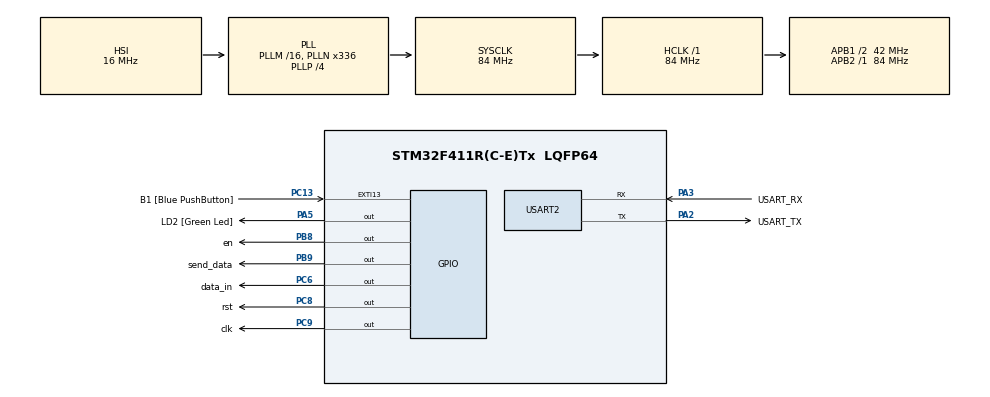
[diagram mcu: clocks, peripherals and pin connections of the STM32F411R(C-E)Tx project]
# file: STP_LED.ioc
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Mcu.Family=STM32F4
Mcu.Name=STM32F411R(C-E)Tx
Mcu.Package=LQFP64
NVIC.PriorityGroup=NVIC_PRIORITYGROUP_0
PA13.GPIO_Label=TMS
PA13.Mode=Serial_Wire
PA13.Signal=SYS_JTMS-SWDIO
PA14.GPIO_Label=TCK
PA14.Mode=Serial_Wire
PA14.Signal=SYS_JTCK-SWCLK
PA2.GPIO_Label=USART_TX
PA2.Mode=Asynchronous
PA2.Signal=USART2_TX
PA3.GPIO_Label=USART_RX
PA3.Mode=Asynchronous
PA3.Signal=USART2_RX
PA5.GPIO_Label=LD2 [Green Led]
PA5.Signal=GPIO_Output
PB3.GPIO_Label=SWO
PB3.Signal=SYS_JTDO-SWO
PB8.GPIO_Label=en
PB8.Signal=GPIO_Output
PB9.GPIO_Label=send_data
PB9.Signal=GPIO_Output
PC13-ANTI_TAMP.GPIO_Label=B1 [Blue PushButton]
PC13-ANTI_TAMP.GPIO_ModeDefaultEXTI=GPIO_MODE_IT_FALLING
PC13-ANTI_TAMP.Signal=GPXTI13
PC14-OSC32_IN.Mode=LSE-External-Oscillator
PC14-OSC32_IN.Signal=RCC_OSC32_IN
PC15-OSC32_OUT.Mode=LSE-External-Oscillator
PC15-OSC32_OUT.Signal=RCC_OSC32_OUT
PC6.GPIO_Label=data_in
PC6.Signal=GPIO_Output
PC8.GPIO_Label=rst
PC8.Signal=GPIO_Output
PC9.GPIO_Label=clk
PC9.Signal=GPIO_Output
PH0\ -\ OSC_IN.Mode=HSE-External-Clock-Source
PH0\ -\ OSC_IN.Signal=RCC_OSC_IN
PH1\ -\ OSC_OUT.Mode=HSE-External-Clock-Source
PH1\ -\ OSC_OUT.Signal=RCC_OSC_OUT
ProjectManager.HeapSize=0x200
ProjectManager.StackSize=0x400
ProjectManager.TargetToolchain=STM32CubeIDE
RCC.48MHZClocksFreq_Value=84000000
RCC.AHBFreq_Value=84000000
RCC.APB1CLKDivider=RCC_HCLK_DIV2
RCC.APB1Freq_Value=42000000
RCC.APB1TimFreq_Value=84000000
RCC.APB2Freq_Value=84000000
RCC.APB2TimFreq_Value=84000000
RCC.CortexFreq_Value=84000000
RCC.FLatency-AdvancedSettings=FLASH_LATENCY_2
RCC.HCLKFreq_Value=84000000
RCC.HSE_VALUE=8000000
RCC.HSI_VALUE=16000000
RCC.PLLN=336
RCC.PLLP=RCC_PLLP_DIV4
RCC.SYSCLKFreq_VALUE=84000000
RCC.SYSCLKSource=RCC_SYSCLKSOURCE_PLLCLK
RCC.VCOOutputFreq_Value=336000000
USART2.VirtualMode=VM_ASYNC
board=NUCLEO-F411RE

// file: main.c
/* USER CODE BEGIN Header */
/**
  ******************************************************************************
  * @file           : main.c
  * @brief          : Main program body
  ******************************************************************************
  * @attention
  *
  * Copyright (c) 2024 STMicroelectronics.
  * All rights reserved.
  *
  * This software is licensed under terms that can be found in the LICENSE file
  * in the root directory of this software component.
  * If no LICENSE file comes with this software, it is provided AS-IS.
  *
  ******************************************************************************
  */
/* USER CODE END Header */
#include "main.h"

UART_HandleTypeDef huart2;

void SystemClock_Config(void);
static void MX_GPIO_Init(void);
static void MX_USART2_UART_Init(void);

int main(void)
{

  /* MCU Configuration--------------------------------------------------------*/

  /* Reset of all peripherals, Initializes the Flash interface and the Systick. */
  HAL_Init();

  /* Configure the system clock */
  SystemClock_Config();

  /* Initialize all configured peripherals */
  MX_GPIO_Init();
  MX_USART2_UART_Init();

  /* Infinite loop */
  /* USER CODE BEGIN WHILE */

  // Initial State
  HAL_GPIO_WritePin(GPIOC, clk_Pin, 0);
  HAL_GPIO_WritePin(GPIOC, rst_Pin, 1);
  HAL_GPIO_WritePin(GPIOB, en_Pin, 0);
  HAL_GPIO_WritePin(GPIOC, data_in_Pin, 0);
  HAL_Delay(100);

  HAL_GPIO_WritePin(GPIOC, clk_Pin, 1);
  HAL_Delay(100);

  HAL_GPIO_WritePin(GPIOC, clk_Pin, 0);
  HAL_GPIO_WritePin(GPIOC, rst_Pin, 0);
  HAL_GPIO_WritePin(GPIOB, en_Pin, 1);
  HAL_GPIO_WritePin(GPIOC, data_in_Pin, 0);
  HAL_Delay(100);

  HAL_GPIO_WritePin(GPIOC, clk_Pin, 1);			/// Cycle 1
  HAL_Delay(100);

  HAL_GPIO_WritePin(GPIOC, clk_Pin, 0);
  HAL_GPIO_WritePin(GPIOC, data_in_Pin, 1);
  HAL_Delay(100);

  HAL_GPIO_WritePin(GPIOC, clk_Pin, 1);			// Cycle 2
  HAL_Delay(100);

  HAL_GPIO_WritePin(GPIOC, clk_Pin, 0);
  HAL_Delay(100);

  HAL_GPIO_WritePin(GPIOC, clk_Pin, 1);			// Cycle 3
  HAL_Delay(100);

  HAL_GPIO_WritePin(GPIOC, clk_Pin, 0);
  HAL_GPIO_WritePin(GPIOB, en_Pin, 0);
  HAL_Delay(100);

  HAL_GPIO_WritePin(GPIOC, clk_Pin, 1);
  HAL_Delay(100);

  while (1)
  {
    /* USER CODE END WHILE */
	HAL_GPIO_TogglePin(GPIOC, clk_Pin);
	HAL_Delay(100);
  }
}

void SystemClock_Config(void)
{
  RCC_OscInitTypeDef RCC_OscInitStruct = {0};
  RCC_ClkInitTypeDef RCC_ClkInitStruct = {0};

  /** Configure the main internal regulator output voltage
  */
  __HAL_RCC_PWR_CLK_ENABLE();
  __HAL_PWR_VOLTAGESCALING_CONFIG(PWR_REGULATOR_VOLTAGE_SCALE1);

  /** Initializes the RCC Oscillators according to the specified parameters
  * in the RCC_OscInitTypeDef structure.
  */
  RCC_OscInitStruct.OscillatorType = RCC_OSCILLATORTYPE_HSI;
  RCC_OscInitStruct.HSIState = RCC_HSI_ON;
  RCC_OscInitStruct.HSICalibrationValue = RCC_HSICALIBRATION_DEFAULT;
  RCC_OscInitStruct.PLL.PLLState = RCC_PLL_ON;
  RCC_OscInitStruct.PLL.PLLSource = RCC_PLLSOURCE_HSI;
  RCC_OscInitStruct.PLL.PLLM = 16;
  RCC_OscInitStruct.PLL.PLLN = 336;
  RCC_OscInitStruct.PLL.PLLP = RCC_PLLP_DIV4;
  RCC_OscInitStruct.PLL.PLLQ = 4;
  if (HAL_RCC_OscConfig(&RCC_OscInitStruct) != HAL_OK)
  {
    Error_Handler();
  }

  /** Initializes the CPU, AHB and APB buses clocks
  */
  RCC_ClkInitStruct.ClockType = RCC_CLOCKTYPE_HCLK|RCC_CLOCKTYPE_SYSCLK
                              |RCC_CLOCKTYPE_PCLK1|RCC_CLOCKTYPE_PCLK2;
  RCC_ClkInitStruct.SYSCLKSource = RCC_SYSCLKSOURCE_PLLCLK;
  RCC_ClkInitStruct.AHBCLKDivider = RCC_SYSCLK_DIV1;
  RCC_ClkInitStruct.APB1CLKDivider = RCC_HCLK_DIV2;
  RCC_ClkInitStruct.APB2CLKDivider = RCC_HCLK_DIV1;

  if (HAL_RCC_ClockConfig(&RCC_ClkInitStruct, FLASH_LATENCY_2) != HAL_OK)
  {
    Error_Handler();
  }
}

static void MX_USART2_UART_Init(void)
{

  huart2.Instance = USART2;
  huart2.Init.BaudRate = 115200;
  huart2.Init.WordLength = UART_WORDLENGTH_8B;
  huart2.Init.StopBits = UART_STOPBITS_1;
  huart2.Init.Parity = UART_PARITY_NONE;
  huart2.Init.Mode = UART_MODE_TX_RX;
  huart2.Init.HwFlowCtl = UART_HWCONTROL_NONE;
  huart2.Init.OverSampling = UART_OVERSAMPLING_16;
  if (HAL_UART_Init(&huart2) != HAL_OK)
  {
    Error_Handler();
  }

}

static void MX_GPIO_Init(void)
{
  GPIO_InitTypeDef GPIO_InitStruct = {0};

  /* GPIO Ports Clock Enable */
  __HAL_RCC_GPIOC_CLK_ENABLE();
  __HAL_RCC_GPIOH_CLK_ENABLE();
  __HAL_RCC_GPIOA_CLK_ENABLE();
  __HAL_RCC_GPIOB_CLK_ENABLE();

  /*Configure GPIO pin Output Level */
  HAL_GPIO_WritePin(LD2_GPIO_Port, LD2_Pin, GPIO_PIN_RESET);

  /*Configure GPIO pin Output Level */
  HAL_GPIO_WritePin(GPIOC, data_in_Pin|rst_Pin|clk_Pin, GPIO_PIN_RESET);

  /*Configure GPIO pin Output Level */
  HAL_GPIO_WritePin(GPIOB, en_Pin|send_data_Pin, GPIO_PIN_RESET);

  /*Configure GPIO pin : B1_Pin */
  GPIO_InitStruct.Pin = B1_Pin;
  GPIO_InitStruct.Mode = GPIO_MODE_IT_FALLING;
  GPIO_InitStruct.Pull = GPIO_NOPULL;
  HAL_GPIO_Init(B1_GPIO_Port, &GPIO_InitStruct);

  /*Configure GPIO pin : LD2_Pin */
  GPIO_InitStruct.Pin = LD2_Pin;
  GPIO_InitStruct.Mode = GPIO_MODE_OUTPUT_PP;
  GPIO_InitStruct.Pull = GPIO_NOPULL;
  GPIO_InitStruct.Speed = GPIO_SPEED_FREQ_LOW;
  HAL_GPIO_Init(LD2_GPIO_Port, &GPIO_InitStruct);

  /*Configure GPIO pins : data_in_Pin rst_Pin clk_Pin */
  GPIO_InitStruct.Pin = data_in_Pin|rst_Pin|clk_Pin;
  GPIO_InitStruct.Mode = GPIO_MODE_OUTPUT_PP;
  GPIO_InitStruct.Pull = GPIO_NOPULL;
  GPIO_InitStruct.Speed = GPIO_SPEED_FREQ_LOW;
  HAL_GPIO_Init(GPIOC, &GPIO_InitStruct);

  /*Configure GPIO pins : en_Pin send_data_Pin */
  GPIO_InitStruct.Pin = en_Pin|send_data_Pin;
  GPIO_InitStruct.Mode = GPIO_MODE_OUTPUT_PP;
  GPIO_InitStruct.Pull = GPIO_NOPULL;
  GPIO_InitStruct.Speed = GPIO_SPEED_FREQ_LOW;
  HAL_GPIO_Init(GPIOB, &GPIO_InitStruct);

}

void Error_Handler(void)
{
  __disable_irq();
  while (1)
  {
  }
}
